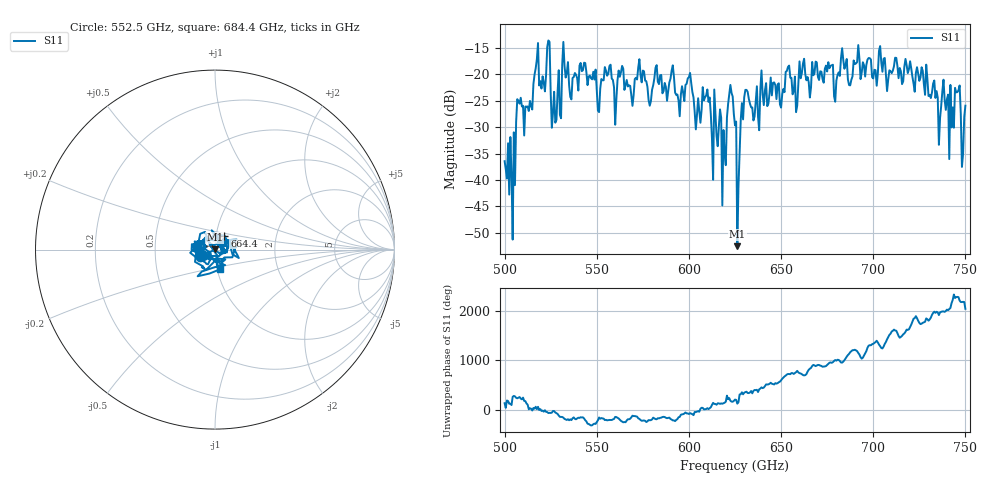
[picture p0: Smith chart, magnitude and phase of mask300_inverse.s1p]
!Created with skrf (http://scikit-rf.org).
# GHz S MA R 50.0
!freq magS11 angS11
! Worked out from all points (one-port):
!   401 points, 500 GHz to 750 GHz, reference 50 ohm
!   lowest |S11| = -52.6 dB at 626.2 GHz (marker M1), VSWR 1.00, Z = 49.8 + j0.169 ohm
!   |S11| at or under -10 dB: start of sweep to end of sweep
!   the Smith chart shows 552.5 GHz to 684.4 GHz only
!   S11 on the Smith chart (normalised r, x): 552.5 GHz: 0.85, -0.07; 664.4 GHz: 1.10, +0.17; 684.4 GHz: 1.04, -0.23
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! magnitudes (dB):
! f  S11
! 500 GHz  -36.4
! 505 GHz  -31.0
! 507.5 GHz  -25.1
! 513.8 GHz  -25.0
! 516.9 GHz  -18.8
! 520.6 GHz  -20.4
! 523.8 GHz  -13.6
! 526.9 GHz  -23.3
! 531.2 GHz  -18.1
! 552.5 GHz  -20.9
! 562.5 GHz  -20.4
! 578.8 GHz  -25.9
! 590.6 GHz  -19.3
! 593.8 GHz  -23.8
! 610 GHz  -22.8
! 619.4 GHz  -35.2
! 622.5 GHz  -22.0
! 625 GHz  -29.7
! 626.2 GHz  -52.6
! 631.2 GHz  -22.9
! 656.2 GHz  -23.8
! 664.4 GHz  -20.5
! 684.4 GHz  -18.9
! 687.5 GHz  -22.1
! 691.2 GHz  -17.7
! 718.8 GHz  -19.7
! 745.6 GHz  -23.4
! 750 GHz  -25.9
